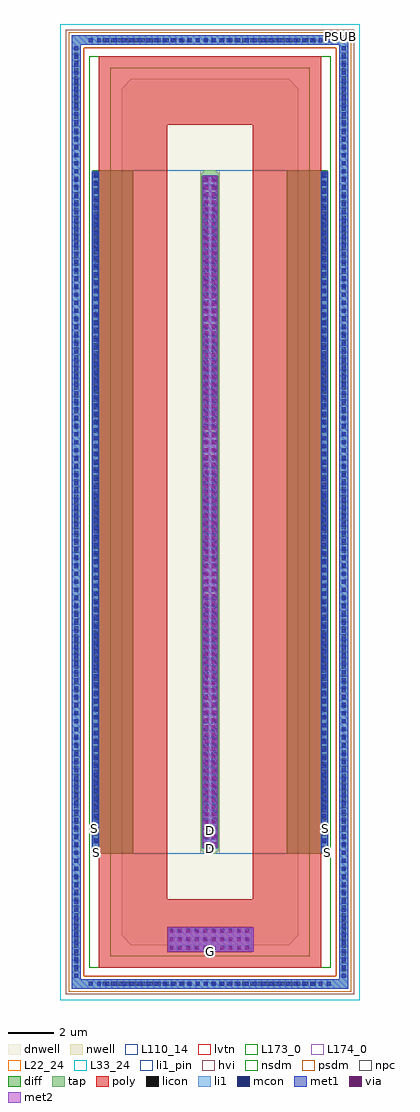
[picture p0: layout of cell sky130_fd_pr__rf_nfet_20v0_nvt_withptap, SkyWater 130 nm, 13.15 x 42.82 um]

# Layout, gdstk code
import gdstk
lib = gdstk.Library(unit=1e-6, precision=1e-09)
def R(c, l, rs):  # rectangles x0, y0, x1, y1
    for r in rs: c.add(gdstk.rectangle(r[:2], r[2:], *l))
def A(c, l, x, y, w, h, nx, ny, dx, dy):  # array of equal rectangles
    R(c, l, [(x+i*dx, y+j*dy, x+i*dx+w, y+j*dy+h) for i in range(nx) for j in range(ny)])
def P(c, l, *ps):  # polygons
    for p in ps: c.add(gdstk.Polygon(p, *l))
L22_24 = (22, 24)
L33_24 = (33, 24)
dnwell = (64, 18)
nwell = (64, 20)
diff = (65, 20)
tap = (65, 44)
poly = (66, 20)
licon = (66, 44)
li1_pin = (67, 16)
li1 = (67, 20)
mcon = (67, 44)
met1 = (68, 20)
via = (68, 44)
met2 = (69, 20)
hvi = (75, 20)
nsdm = (93, 44)
psdm = (94, 20)
npc = (95, 20)
L110_14 = (110, 14)
lvtn = (125, 44)
L173_0 = (173, 0)
L174_0 = (174, 0)

sky130_fd_pr__rf_nfet_20 = lib.new_cell('sky130_fd_pr__rf_nfet_20v0_nvt_withptap')
R(sky130_fd_pr__rf_nfet_20, L22_24, [(-6.2,-6.41,6.95,36.41)])
R(sky130_fd_pr__rf_nfet_20, L33_24, [(-6.2,-6.41,6.95,36.41)])
P(sky130_fd_pr__rf_nfet_20, dnwell, [(4.25,33.57),(3.82,34),(-3.07,34),(-3.5,33.57),(-3.5,-3.57),(-3.07,-4),(3.82,-4),(4.25,-3.57)])
R(sky130_fd_pr__rf_nfet_20, nwell, [(-0.05,0,0.8,30)])
R(sky130_fd_pr__rf_nfet_20, diff, [(-4.79,0,-4.5,30), (-4.79,0,-3,30), (3.75,0,5.54,30), (5.25,0,5.54,30), (-4.79,0.065,-4.5,29.935), (5.25,0.065,5.54,29.935)])
R(sky130_fd_pr__rf_nfet_20, tap, [(-5.7,-5.91,-5.29,35.91), (-4.45,-5.91,5.14,-5.5), (-5.7,-5.265,-5.29,35.265), (6.04,-5.265,6.45,35.265), (0,0.175,0.75,29.825), (-4.45,35.5,5.14,35.91)])
P(sky130_fd_pr__rf_nfet_20, tap, [(0.15,0),(0.6,0),(0.75,0.15),(0.75,29.85),(0.6,30),(0.15,30),(0,29.85),(0,0.15)],
  [(6.45,35.91),(6.04,35.91),(6.04,-5.5),(-5.29,-5.5),(-5.29,35.5),(6.04,35.5),(6.04,35.91),(-5.7,35.91),(-5.7,-5.91),(6.45,-5.91)])
R(sky130_fd_pr__rf_nfet_20, poly, [(-1.48,-4.285,-1.15,-3.955), (-1.48,-4.285,-1.15,-3.955), (-1.11,-4.285,-0.78,-3.955), (-1.11,-4.285,-0.78,-3.955), (-0.74,-4.285,-0.41,-3.955), (-0.74,-4.285,-0.41,-3.955), (-0.37,-4.285,-0.04,-3.955), (-0.37,-4.285,-0.04,-3.955), (0,-4.285,0.33,-3.955), (0,-4.285,0.33,-3.955), (0.37,-4.285,0.7,-3.955), (0.37,-4.285,0.7,-3.955), (0.74,-4.285,1.07,-3.955), (0.74,-4.285,1.07,-3.955), (1.11,-4.285,1.44,-3.955), (1.11,-4.285,1.44,-3.955), (1.48,-4.285,1.81,-3.955), (1.48,-4.285,1.81,-3.955), (1.85,-4.285,2.18,-3.955), (1.85,-4.285,2.18,-3.955), (-1.48,-3.915,-1.15,-3.585), (-1.48,-3.915,-1.15,-3.585), (-1.11,-3.915,-0.78,-3.585), (-1.11,-3.915,-0.78,-3.585), (-0.74,-3.915,-0.41,-3.585), (-0.74,-3.915,-0.41,-3.585), (-0.37,-3.915,-0.04,-3.585), (-0.37,-3.915,-0.04,-3.585), (0,-3.915,0.33,-3.585), (0,-3.915,0.33,-3.585), (0.37,-3.915,0.7,-3.585), (0.37,-3.915,0.7,-3.585), (0.74,-3.915,1.07,-3.585), (0.74,-3.915,1.07,-3.585), (1.11,-3.915,1.44,-3.585), (1.11,-3.915,1.44,-3.585), (1.48,-3.915,1.81,-3.585), (1.48,-3.915,1.81,-3.585), (1.85,-3.915,2.18,-3.585), (1.85,-3.915,2.18,-3.585), (-1.48,-3.545,-1.15,-3.215), (-1.48,-3.545,-1.15,-3.215), (-1.11,-3.545,-0.78,-3.215), (-1.11,-3.545,-0.78,-3.215), (-0.74,-3.545,-0.41,-3.215), (-0.74,-3.545,-0.41,-3.215), (-0.37,-3.545,-0.04,-3.215), (-0.37,-3.545,-0.04,-3.215), (0,-3.545,0.33,-3.215), (0,-3.545,0.33,-3.215), (0.37,-3.545,0.7,-3.215), (0.37,-3.545,0.7,-3.215), (0.74,-3.545,1.07,-3.215), (0.74,-3.545,1.07,-3.215), (1.11,-3.545,1.44,-3.215), (1.11,-3.545,1.44,-3.215), (1.48,-3.545,1.81,-3.215), (1.48,-3.545,1.81,-3.215), (1.85,-3.545,2.18,-3.215), (1.85,-3.545,2.18,-3.215)])
P(sky130_fd_pr__rf_nfet_20, poly, [(5.25,35),(2.25,35),(2.25,-2),(-1.5,-2),(-1.5,32),(2.25,32),(2.25,35),(-4.5,35),(-4.5,-5),(5.25,-5)])
A(sky130_fd_pr__rf_nfet_20, licon, -4.33, -5.79, 0.17, 0.17, 28, 2, 0.34, 41.41)
A(sky130_fd_pr__rf_nfet_20, licon, -5.58, -5.145, 0.17, 0.17, 1, 119, 0, 0.34)
A(sky130_fd_pr__rf_nfet_20, licon, 6.16, -5.145, 0.17, 0.17, 1, 119, 0, 0.34)
A(sky130_fd_pr__rf_nfet_20, licon, -1.4, -4.205, 0.17, 0.17, 10, 3, 0.37, 0.37)
A(sky130_fd_pr__rf_nfet_20, licon, -4.73, 0.125, 0.17, 0.17, 1, 88, 0, 0.34)
A(sky130_fd_pr__rf_nfet_20, licon, 5.31, 0.125, 0.17, 0.17, 1, 88, 0, 0.34)
A(sky130_fd_pr__rf_nfet_20, licon, 0.12, 0.295, 0.17, 0.17, 1, 87, 0, 0.34)
A(sky130_fd_pr__rf_nfet_20, licon, 0.46, 0.295, 0.17, 0.17, 1, 87, 0, 0.34)
R(sky130_fd_pr__rf_nfet_20, li1_pin, [(-1.48,-4.285,2.3,-4.265), (-4.81,0.045,-4.48,0.065), (5.23,0.045,5.56,0.065), (0.04,0.215,0.71,0.235), (5.78,35.7,6.45,35.91)])
A(sky130_fd_pr__rf_nfet_20, li1, -1.48, -4.285, 0.33, 0.33, 10, 3, 0.37, 0.37)
A(sky130_fd_pr__rf_nfet_20, li1, -1.4, -4.205, 0.17, 0.17, 10, 3, 0.37, 0.37)
R(sky130_fd_pr__rf_nfet_20, li1, [(-4.41,-5.87,5.1,-5.54), (-4.94,-5.79,5.67,-5.62), (-5.58,-5.425,-5.41,35.425), (6.16,-5.425,6.33,35.425), (-5.66,-5.225,-5.33,35.225), (6.08,-5.225,6.41,35.225), (-1.48,-4.285,2.3,-3.215), (-4.81,0.045,-4.48,29.955), (5.23,0.045,5.56,29.955), (0.04,0.215,0.71,29.785), (0.11,0.335,0.64,29.665), (-4.41,35.54,5.1,35.87), (-4.94,35.62,5.67,35.79)])
P(sky130_fd_pr__rf_nfet_20, li1, [(6.45,35.91),(6.04,35.91),(6.04,-5.5),(-5.29,-5.5),(-5.29,35.5),(6.04,35.5),(6.04,35.91),(-5.7,35.91),(-5.7,-5.91),(6.45,-5.91)])
A(sky130_fd_pr__rf_nfet_20, mcon, -4.94, -5.79, 0.17, 0.17, 30, 2, 0.36, 41.41)
A(sky130_fd_pr__rf_nfet_20, mcon, -5.58, -5.425, 0.17, 0.17, 1, 114, 0, 0.36)
A(sky130_fd_pr__rf_nfet_20, mcon, 6.16, -5.425, 0.17, 0.17, 1, 114, 0, 0.36)
A(sky130_fd_pr__rf_nfet_20, mcon, -1.4, -4.205, 0.17, 0.17, 10, 3, 0.37, 0.37)
A(sky130_fd_pr__rf_nfet_20, mcon, -4.73, 0.155, 0.17, 0.17, 1, 83, 0, 0.36)
A(sky130_fd_pr__rf_nfet_20, mcon, 5.31, 0.155, 0.17, 0.17, 1, 83, 0, 0.36)
A(sky130_fd_pr__rf_nfet_20, mcon, 0.11, 0.335, 0.17, 0.17, 1, 82, 0, 0.36)
A(sky130_fd_pr__rf_nfet_20, mcon, 0.47, 0.335, 0.17, 0.17, 1, 82, 0, 0.36)
A(sky130_fd_pr__rf_nfet_20, met1, -1.475, -4.28, 0.32, 0.32, 10, 3, 0.37, 0.37)
A(sky130_fd_pr__rf_nfet_20, met1, -1.46, -4.265, 0.29, 0.29, 10, 3, 0.37, 0.37)
R(sky130_fd_pr__rf_nfet_20, met1, [(-5,-5.85,5.73,-5.56), (-5.64,-5.485,-5.35,35.485), (6.1,-5.485,6.39,35.485), (-1.48,-4.285,2.3,-3.215), (-4.79,0.095,-4.5,29.905), (5.25,0.095,5.54,29.905), (0.05,0.275,0.7,29.725), (0.055,0.285,0.695,29.725), (-5,35.56,5.73,35.85)])
P(sky130_fd_pr__rf_nfet_20, met1, [(6.45,35.91),(6.04,35.91),(6.04,-5.5),(-5.29,-5.5),(-5.29,35.5),(6.04,35.5),(6.04,35.91),(-5.7,35.91),(-5.7,-5.91),(6.45,-5.91)])
A(sky130_fd_pr__rf_nfet_20, via, -1.39, -4.195, 0.15, 0.15, 10, 3, 0.37, 0.37)
A(sky130_fd_pr__rf_nfet_20, via, 0.14, 0.37, 0.15, 0.15, 1, 92, 0, 0.32)
A(sky130_fd_pr__rf_nfet_20, via, 0.46, 0.37, 0.15, 0.15, 1, 92, 0, 0.32)
R(sky130_fd_pr__rf_nfet_20, met2, [(-1.48,-4.285,2.3,-3.215), (-1.475,-4.28,-1.155,-3.96), (-1.475,-4.28,-1.155,-3.96), (-1.105,-4.28,-0.785,-3.96), (-1.105,-4.28,-0.785,-3.96), (-0.735,-4.28,-0.415,-3.96), (-0.735,-4.28,-0.415,-3.96), (-0.365,-4.28,-0.045,-3.96), (-0.365,-4.28,-0.045,-3.96), (0.005,-4.28,0.325,-3.96), (0.005,-4.28,0.325,-3.96), (0.375,-4.28,0.695,-3.96), (0.375,-4.28,0.695,-3.96), (0.745,-4.28,1.065,-3.96), (0.745,-4.28,1.065,-3.96), (1.115,-4.28,1.435,-3.96), (1.115,-4.28,1.435,-3.96), (1.485,-4.28,1.805,-3.96), (1.485,-4.28,1.805,-3.96), (1.855,-4.28,2.175,-3.96), (1.855,-4.28,2.175,-3.96), (-1.475,-3.91,-1.155,-3.59), (-1.475,-3.91,-1.155,-3.59), (-1.105,-3.91,-0.785,-3.59), (-1.105,-3.91,-0.785,-3.59), (-0.735,-3.91,-0.415,-3.59), (-0.735,-3.91,-0.415,-3.59), (-0.365,-3.91,-0.045,-3.59), (-0.365,-3.91,-0.045,-3.59), (0.005,-3.91,0.325,-3.59), (0.005,-3.91,0.325,-3.59), (0.375,-3.91,0.695,-3.59), (0.375,-3.91,0.695,-3.59), (0.745,-3.91,1.065,-3.59), (0.745,-3.91,1.065,-3.59), (1.115,-3.91,1.435,-3.59), (1.115,-3.91,1.435,-3.59), (1.485,-3.91,1.805,-3.59), (1.485,-3.91,1.805,-3.59), (1.855,-3.91,2.175,-3.59), (1.855,-3.91,2.175,-3.59), (-1.475,-3.54,-1.155,-3.22), (-1.475,-3.54,-1.155,-3.22), (-1.105,-3.54,-0.785,-3.22), (-1.105,-3.54,-0.785,-3.22), (-0.735,-3.54,-0.415,-3.22), (-0.735,-3.54,-0.415,-3.22), (-0.365,-3.54,-0.045,-3.22), (-0.365,-3.54,-0.045,-3.22), (0.005,-3.54,0.325,-3.22), (0.005,-3.54,0.325,-3.22), (0.375,-3.54,0.695,-3.22), (0.375,-3.54,0.695,-3.22), (0.745,-3.54,1.065,-3.22), (0.745,-3.54,1.065,-3.22), (1.115,-3.54,1.435,-3.22), (1.115,-3.54,1.435,-3.22), (1.485,-3.54,1.805,-3.22), (1.485,-3.54,1.805,-3.22), (1.855,-3.54,2.175,-3.22), (1.855,-3.54,2.175,-3.22), (0.055,0.285,0.695,29.725)])
R(sky130_fd_pr__rf_nfet_20, hvi, [(-5.95,-6.16,6.7,36.16)])
R(sky130_fd_pr__rf_nfet_20, nsdm, [(-4.92,-5,5.67,35)])
R(sky130_fd_pr__rf_nfet_20, psdm, [(-5.83,-6.04,6.58,-5.37), (-5.83,-6.04,-5.16,36.04), (5.91,-6.04,6.58,36.04), (-5.83,-5.395,-5.16,35.395), (5.91,-5.395,6.58,35.395), (-5.83,35.37,6.58,36.04)])
A(sky130_fd_pr__rf_nfet_20, npc, -1.5, -4.305, 0.37, 0.37, 10, 3, 0.37, 0.37)
R(sky130_fd_pr__rf_nfet_20, L110_14, [(-4.79,0,5.54,30)])
R(sky130_fd_pr__rf_nfet_20, lvtn, [(-5.16,-5.37,5.91,35.37), (-4,-4.5,4.75,34.5)])
R(sky130_fd_pr__rf_nfet_20, L173_0, [(-4,-4.5,4.75,34.5)])
R(sky130_fd_pr__rf_nfet_20, L174_0, [(-6.2,-6.41,6.95,36.41)])
sky130_fd_pr__rf_nfet_20.add(gdstk.Label('S', (-4.68,1.13), layer=83, texttype=44))
sky130_fd_pr__rf_nfet_20.add(gdstk.Label('S', (5.425,1.13), layer=83, texttype=44))
sky130_fd_pr__rf_nfet_20.add(gdstk.Label('D', (0.395,1.03), layer=83, texttype=44))
sky130_fd_pr__rf_nfet_20.add(gdstk.Label('G', (0.375,-4.275), layer=67, texttype=5))
sky130_fd_pr__rf_nfet_20.add(gdstk.Label('PSUB', (6.115,35.86), layer=67, texttype=5))
sky130_fd_pr__rf_nfet_20.add(gdstk.Label('D', (0.375,0.225), layer=67, texttype=5))
sky130_fd_pr__rf_nfet_20.add(gdstk.Label('S', (5.525,0.05), layer=67, texttype=5))
sky130_fd_pr__rf_nfet_20.add(gdstk.Label('S', (-4.59,0.05), layer=67, texttype=5))

lib.write_gds('sky130_fd_pr__rf_nfet_20v0_nvt_withptap.gds')
